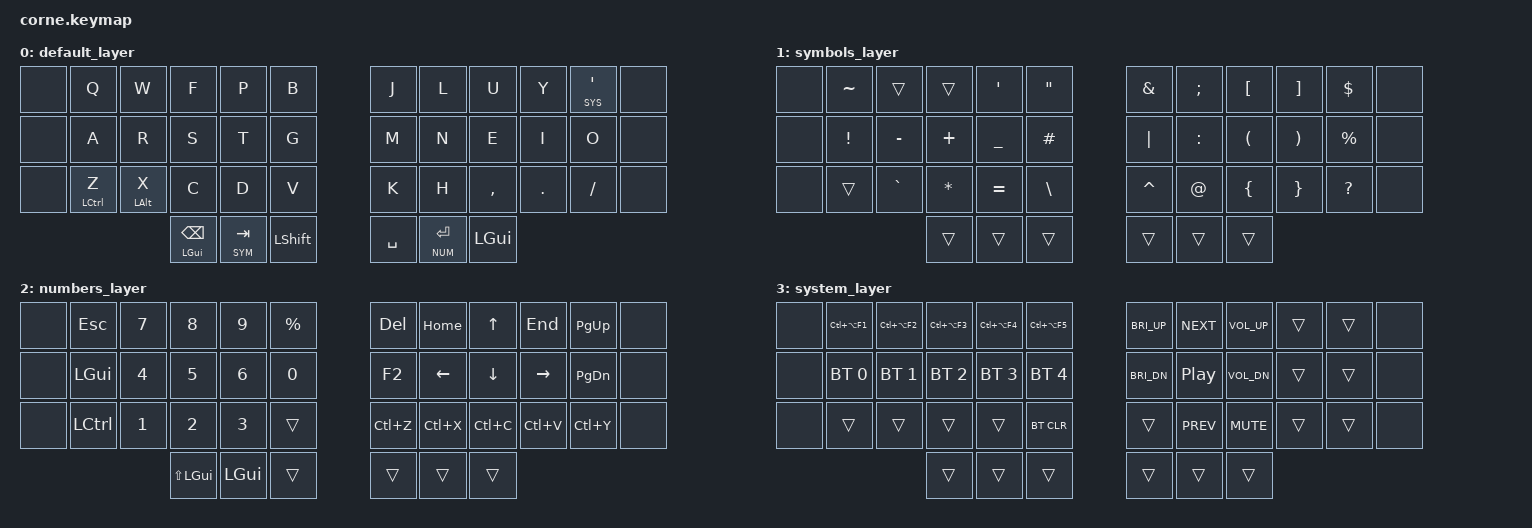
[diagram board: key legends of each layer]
/*
 * Copyright (c) 2020 The ZMK Contributors
 *
 * SPDX-License-Identifier: MIT
 */

#include <behaviors.dtsi>
#include <dt-bindings/zmk/keys.h>
#include <dt-bindings/zmk/bt.h>

#define DEF     0
#define SYM     1
#define NUM     2
#define SYS     3

/ {
        combos {
            compatible = "zmk,combos";

            combo_esc {
                timeout-ms = <50>;
                key-positions = <1 2>;
                bindings = <&kp ESC>;
            };
            combo_del {
                timeout-ms = <50>;
                key-positions = <6 7>;
                bindings = <&kp DEL>;
            };
        };
        keymap {
                compatible = "zmk,keymap";

                default_layer {
// -----------------------------------------------------------------------------------------
// | NONE |  Q  |  W  |  F  |  P  |  B  |   |  J  |  L   |  U  |  Y  |  '  | NONE |
// | NONE |  A  |  R  |  S  |  T  |  G  |   |  M  |  N   |  E  |  I  |  O  | NONE |
// | NONE |  Z  |  X  |  C  |  D  |  V  |   |  K  |  H   |  ,  |  .  |  /  | NONE |
//                    | BCK | TAB | SHI |   | SPA | ENT  | GUI |
                        bindings = <
   &none &kp Q          &kp W       &kp F &kp P &kp B       &kp J &kp L  &kp U      &kp Y    &lt SYS APOS    &none
   &none &kp A          &kp R       &kp S &kp T &kp G       &kp M &kp N  &kp E      &kp I    &kp O           &none
   &none &mt LCTRL Z    &mt LALT X  &kp C &kp D &kp V       &kp K &kp H  &kp COMMA  &kp DOT  &kp FSLH        &none
         &mt LGUI BSPC  &lt SYM TAB &kp LSHFT               &kp SPACE &lt NUM ENTER &kp LGUI
                        >;
                };
                symbols_layer {
/// -----------------------------------------------------------------------------------------
// | NONE |  ~  | TRN | TRN |  '  |  "  |   |  &  |  ;   |  [  |  ]  |  $  | NONE |
// | NONE |  !  |  -  |  +  |  _  |  #  |   |  |  |  :   |  (  |  )  |  %  | NONE |
// | NONE | TRN |  `  |  *  |  =  |  \  |   |  ^  |  @   |  {  |  }  |  ?  | NONE |
//                    | TRN | TRN | TRN |   | TRN | TRN  | TRN |
                        bindings = <
   &none &kp TILDE  &trans      &trans      &kp APOS    &kp DQT         &kp AMPS    &kp SEMI    &kp LBKT    &kp RBKT    &kp DOLLAR   &none
   &none &kp EXCL   &kp MINUS   &kp PLUS    &kp UNDER   &kp POUND       &kp PIPE    &kp COLON   &kp LPAR    &kp RPAR    &kp PERCENT  &none
   &none &trans     &kp GRAVE   &kp STAR    &kp EQUAL   &kp BSLH        &kp CARET   &kp AT_SIGN &kp LBRC    &kp RBRC    &kp QUESTION &none
                                &trans      &trans      &trans          &trans      &trans   &trans
                        >;
                };

                numbers_layer {
/// -----------------------------------------------------------------------------------------
// | NONE | ESC |  7  |  8  |  9  | PRT |   | DEL | HOME |  UP   | END   | PAGUP | NONE |
// | NONE | GUI |  4  |  5  |  6  |  0  |   | F2  | LEFT |  DOWN | RIGHT | PAGDO | NONE |
// | NONE | CTR |  1  |  2  |  3  | TRN |   | UND | CUT  |  COPY | PASTE | REDO  | NONE |
//                  | SHGUI | GUI | TRN |   | TRN | TRN  |  TRN  |
                        bindings = <
   &none    &kp ESC     &kp N7 &kp N8   &kp N9      &kp PRCNT       &kp DEL     &kp HOME    &kp UP      &kp END     &kp PG_UP   &none
   &none    &kp LGUI    &kp N4 &kp N5   &kp N6      &kp N0          &kp F2      &kp LEFT    &kp DOWN    &kp RIGHT   &kp PG_DN   &none
   &none    &kp LCTRL   &kp N1 &kp N2   &kp N3      &trans          &kp LC(Z)   &kp LC(X)   &kp LC(C)   &kp LC(V)   &kp LC(Y)   &none
                        &kp LS(LGUI)    &kp LGUI    &trans          &trans      &trans      &trans
                        >;
                };

                system_layer {
/// -----------------------------------------------------------------------------------------
// | NONE | TT1 | TT2 | TT3 | TT4 | TT5 |           | BRI+ | NEXT | VOL+ | TRN | TRN | NONE |
// | NONE | BL1 | BL2 | BL3 | BL4 | BL5 |           | BRI- | PLAY | VOL- | TRN | TRN | NONE |
// | NONE | TRN | TRN | TRN | TRN | BT_CLEAR |      | TRN  | PREV | MUTE | TRN | TRN | NONE |
//                    | TRN | TRN | TRN |           | TRN  | TRN  | TRN  |
                        bindings = <
   &none &kp LC(LA(F1))  &kp LC(LA(F2))  &kp LC(LA(F3))  &kp LC(LA(F4))  &kp LC(LA(F5))      &kp C_BRI_UP   &kp C_NEXT          &kp C_VOL_UP    &trans &trans &none
   &none &bt BT_SEL 0    &bt BT_SEL 1    &bt BT_SEL 2    &bt BT_SEL 3    &bt BT_SEL 4        &kp C_BRI_DN   &kp C_PLAY_PAUSE    &kp C_VOL_DN    &trans &trans &none
   &none &trans          &trans          &trans          &trans          &bt BT_CLR          &trans         &kp C_PREV          &kp C_MUTE      &trans &trans &none
                                         &trans          &trans          &trans              &trans         &trans              &trans
                        >;
               };
        };
};
